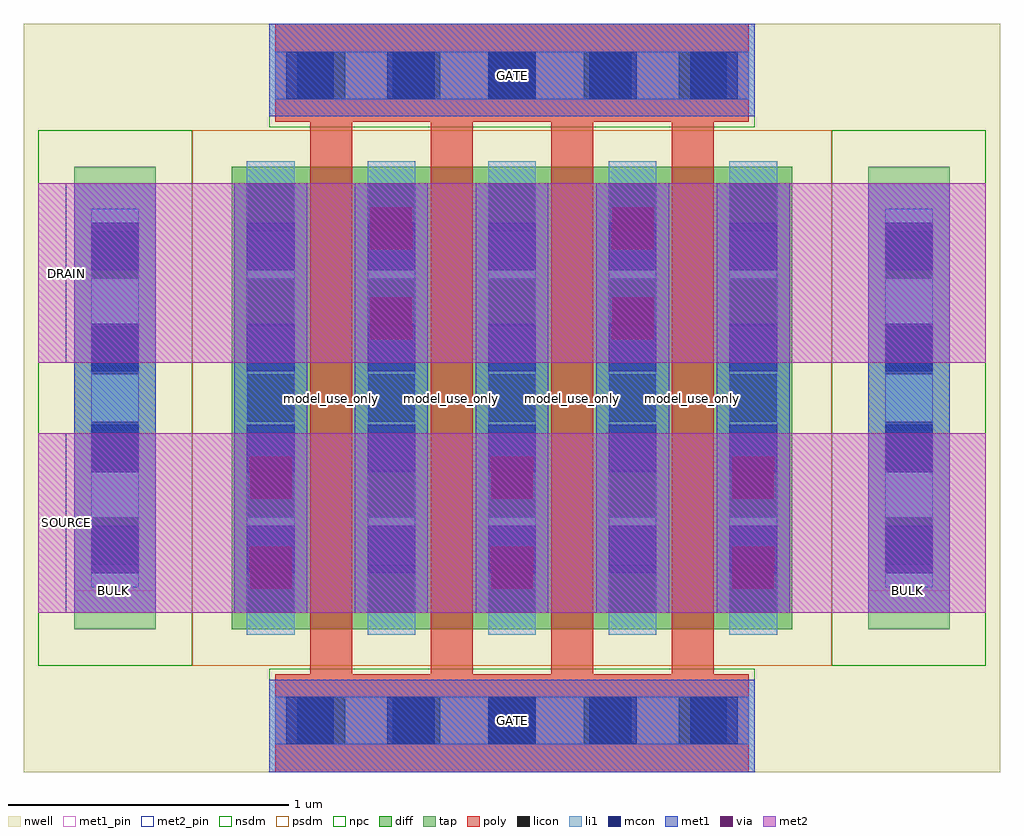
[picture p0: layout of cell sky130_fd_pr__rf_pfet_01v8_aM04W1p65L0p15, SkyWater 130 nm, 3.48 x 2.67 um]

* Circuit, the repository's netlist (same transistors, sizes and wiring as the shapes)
* Copyright 2020 The SkyWater PDK Authors
*
* Licensed under the Apache License, Version 2.0 (the "License");
* you may not use this file except in compliance with the License.
* You may obtain a copy of the License at
*
*     https://www.apache.org/licenses/LICENSE-2.0
*
* Unless required by applicable law or agreed to in writing, software
* distributed under the License is distributed on an "AS IS" BASIS,
* WITHOUT WARRANTIES OR CONDITIONS OF ANY KIND, either express or implied.
* See the License for the specific language governing permissions and
* limitations under the License.
*
* SPDX-License-Identifier: Apache-2.0


.subckt sky130_fd_pr__rf_pfet_01v8_aM04W1p65L0p15 BULK DRAIN GATE SOURCE
X0 DRAIN GATE SOURCE BULK sky130_fd_pr__pfet_01v8 w=1.65e+06u l=150000u
X1 SOURCE GATE DRAIN BULK sky130_fd_pr__pfet_01v8 w=1.65e+06u l=150000u
X2 SOURCE GATE DRAIN BULK sky130_fd_pr__pfet_01v8 w=1.65e+06u l=150000u
X3 DRAIN GATE SOURCE BULK sky130_fd_pr__pfet_01v8 w=1.65e+06u l=150000u
.ends

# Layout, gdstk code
import gdstk
lib = gdstk.Library(unit=1e-6, precision=1e-09)
def R(c, l, rs):  # rectangles x0, y0, x1, y1
    for r in rs: c.add(gdstk.rectangle(r[:2], r[2:], *l))
def A(c, l, x, y, w, h, nx, ny, dx, dy):  # array of equal rectangles
    R(c, l, [(x+i*dx, y+j*dy, x+i*dx+w, y+j*dy+h) for i in range(nx) for j in range(ny)])
nwell = (64, 20)
diff = (65, 20)
tap = (65, 44)
poly = (66, 20)
licon = (66, 44)
li1 = (67, 20)
mcon = (67, 44)
met1_pin = (68, 16)
met1 = (68, 20)
via = (68, 44)
met2_pin = (69, 16)
met2 = (69, 20)
nsdm = (93, 44)
psdm = (94, 20)
npc = (95, 20)

sky130_fd_pr__rf_pfet_01 = lib.new_cell('sky130_fd_pr__rf_pfet_01v8_aM04W1p65L0p15')
R(sky130_fd_pr__rf_pfet_01, nwell, [(0,0,3.48,2.67)])
R(sky130_fd_pr__rf_pfet_01, diff, [(0.74,0.51,2.74,2.16)])
R(sky130_fd_pr__rf_pfet_01, tap, [(0.18,0.51,0.47,2.16), (3.01,0.51,3.3,2.16)])
A(sky130_fd_pr__rf_pfet_01, poly, 1.02, 0.35, 0.15, 1.97, 4, 1, 0.43, 0)
R(sky130_fd_pr__rf_pfet_01, poly, [(0.895,0,2.585,0.35), (0.895,2.32,2.585,2.67)])
A(sky130_fd_pr__rf_pfet_01, licon, 0.975, 0.1, 0.17, 0.17, 5, 2, 0.34, 2.3)
A(sky130_fd_pr__rf_pfet_01, licon, 0.795, 0.57, 0.17, 0.17, 3, 1, 0.43, 0)
A(sky130_fd_pr__rf_pfet_01, licon, 1.655, 0.57, 0.17, 0.17, 3, 1, 0.43, 0)
A(sky130_fd_pr__rf_pfet_01, licon, 0.24, 0.74, 0.17, 0.17, 1, 4, 0, 0.34)
A(sky130_fd_pr__rf_pfet_01, licon, 3.07, 0.74, 0.17, 0.17, 1, 4, 0, 0.34)
A(sky130_fd_pr__rf_pfet_01, licon, 0.795, 0.91, 0.17, 0.17, 5, 4, 0.43, 0.34)
R(sky130_fd_pr__rf_pfet_01, licon, [(0.795,0.57,0.965,0.74), (2.515,0.57,2.685,0.74)])
A(sky130_fd_pr__rf_pfet_01, li1, 0.795, 0.49, 0.17, 1.69, 5, 1, 0.43, 0)
R(sky130_fd_pr__rf_pfet_01, li1, [(0.895,0.1,2.585,0.27), (0.935,0.1,2.545,0.27), (0.24,0.66,0.41,2.01), (3.07,0.66,3.24,2.01), (0.895,2.4,2.585,2.57), (0.935,2.4,2.545,2.57)])
A(sky130_fd_pr__rf_pfet_01, mcon, 0.935, 0.1, 0.17, 0.17, 5, 2, 0.36, 2.3)
A(sky130_fd_pr__rf_pfet_01, mcon, 0.24, 0.71, 0.17, 0.17, 1, 4, 0, 0.36)
A(sky130_fd_pr__rf_pfet_01, mcon, 0.795, 0.71, 0.17, 0.17, 5, 4, 0.43, 0.36)
A(sky130_fd_pr__rf_pfet_01, mcon, 3.07, 0.71, 0.17, 0.17, 1, 4, 0, 0.36)
R(sky130_fd_pr__rf_pfet_01, met1_pin, [(0.875,0,2.605,0.33), (0.18,0.57,0.47,0.65), (3.01,0.57,3.3,0.65), (0.875,2.34,2.605,2.67)])
A(sky130_fd_pr__rf_pfet_01, met1, 0.75, 0.57, 0.26, 1.53, 5, 1, 0.43, 0)
R(sky130_fd_pr__rf_pfet_01, met1, [(0.875,0,2.605,0.33), (0.18,0.57,0.47,2.1), (3.01,0.57,3.3,2.1), (0.875,2.34,2.605,2.67)])
A(sky130_fd_pr__rf_pfet_01, via, 0.805, 0.655, 0.15, 0.15, 3, 2, 0.86, 0.32)
R(sky130_fd_pr__rf_pfet_01, via, [(1.235,1.545,1.385,1.695), (2.095,1.545,2.245,1.695), (1.235,1.865,1.385,2.015), (2.095,1.865,2.245,2.015)])
R(sky130_fd_pr__rf_pfet_01, met2_pin, [(0.05,0.57,0.15,1.21), (0.05,1.46,0.15,2.1)])
R(sky130_fd_pr__rf_pfet_01, met2, [(0.05,0.57,3.43,1.21), (0.05,1.46,3.43,2.1)])
R(sky130_fd_pr__rf_pfet_01, nsdm, [(0.05,0.38,0.6,2.29), (2.88,0.38,3.43,2.29)])
R(sky130_fd_pr__rf_pfet_01, psdm, [(0.6,0.38,2.88,2.29)])
R(sky130_fd_pr__rf_pfet_01, npc, [(0.875,0,2.605,0.37), (0.875,2.3,2.605,2.67)])
sky130_fd_pr__rf_pfet_01.add(gdstk.Label('model_use_only', (1.095,1.335), layer=66, texttype=83))
sky130_fd_pr__rf_pfet_01.add(gdstk.Label('model_use_only', (1.525,1.335), layer=66, texttype=83))
sky130_fd_pr__rf_pfet_01.add(gdstk.Label('model_use_only', (2.385,1.335), layer=66, texttype=83))
sky130_fd_pr__rf_pfet_01.add(gdstk.Label('model_use_only', (1.955,1.335), layer=66, texttype=83))
sky130_fd_pr__rf_pfet_01.add(gdstk.Label('DRAIN', (0.15,1.78), layer=69, texttype=5))
sky130_fd_pr__rf_pfet_01.add(gdstk.Label('SOURCE', (0.15,0.89), layer=69, texttype=5))
sky130_fd_pr__rf_pfet_01.add(gdstk.Label('BULK', (0.32,0.65), layer=68, texttype=5))
sky130_fd_pr__rf_pfet_01.add(gdstk.Label('GATE', (1.74,2.485), layer=68, texttype=5))
sky130_fd_pr__rf_pfet_01.add(gdstk.Label('GATE', (1.74,0.185), layer=68, texttype=5))
sky130_fd_pr__rf_pfet_01.add(gdstk.Label('BULK', (3.15,0.65), layer=68, texttype=5))

lib.write_gds('sky130_fd_pr__rf_pfet_01v8_aM04W1p65L0p15.gds')
